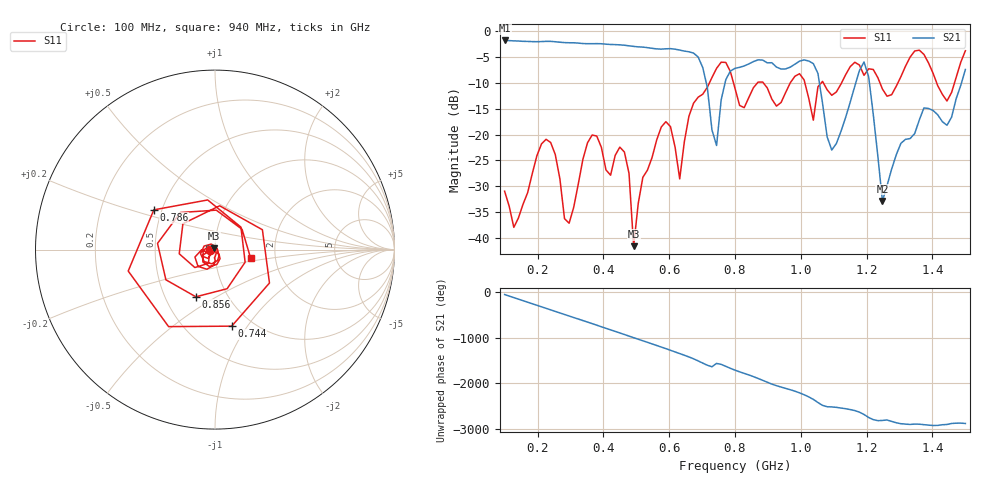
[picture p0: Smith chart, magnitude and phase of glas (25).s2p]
! NanoVNA-App
! Date: 2025-09-25 15:55:40
! Start: 100MHz Stop: 1,5GHz Points: 101
! S-Parameter data: F S11 S21 S12 S22
# Hz S RI R 50
!  Frequency  S11_Real  S11_Imag  S21_Real  S21_Imag  S12_Real  S12_Imag  S22_Real  S22_Imag
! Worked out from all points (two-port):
!   101 points, 100 MHz to 1.5 GHz, reference 50 ohm
!   highest |S21| = -1.80 dB at 100 MHz (marker M1); lowest = -32.9 dB at 1.248 GHz (marker M2)
!   |S21| within 3 dB of the highest: start of sweep to 684.2 MHz
!   lowest |S11| = -41.6 dB at 492 MHz (marker M3), VSWR 1.02, Z = 49.5 + j0.65 ohm
!   |S11| at or under -10 dB: start of sweep to 722.4 MHz; 795.4 MHz to 868.2 MHz (72.85 MHz wide, 8.76 % of centre); 886 MHz to 967.9 MHz (81.93 MHz wide, 8.84 % of centre) (the widest 3 of 7)
!   S12 and S22 are empty: the file has one direction only
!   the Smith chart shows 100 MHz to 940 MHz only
!   S11 on the Smith chart (normalised r, x): 100 MHz: 0.95, -0.01; 744 MHz: 0.81, -0.85; 786 MHz: 0.45, +0.24; 856 MHz: 0.71, -0.41; 940 MHz: 1.49, -0.15
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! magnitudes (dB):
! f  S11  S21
! 100 MHz  -31.0  -1.8
! 128 MHz  -38.0  -1.9
! 226 MHz  -20.9  -2.0
! 296 MHz  -37.2  -2.2
! 338 MHz  -24.7  -2.4
! 464 MHz  -23.4  -2.7
! 492 MHz  -41.6  -3.0
! 576 MHz  -18.5  -3.5
! 632 MHz  -28.6  -3.7
! 702 MHz  -12.2  -7.0
! 744 MHz  -7.2  -22.1
! 786 MHz  -7.8  -7.7
! 800 MHz  -11.1  -7.2
! 856 MHz  -10.9  -5.9
! 940 MHz  -13.8  -7.3
! 1.038 GHz  -17.2  -6.3
! 1.094 GHz  -12.4  -23.0
! 1.192 GHz  -8.6  -6.0
! 1.248 GHz  -11.2  -32.9
! 1.276 GHz  -12.3  -26.7
! 1.444 GHz  -13.5  -18.2
! 1.5 GHz  -3.8  -7.4
